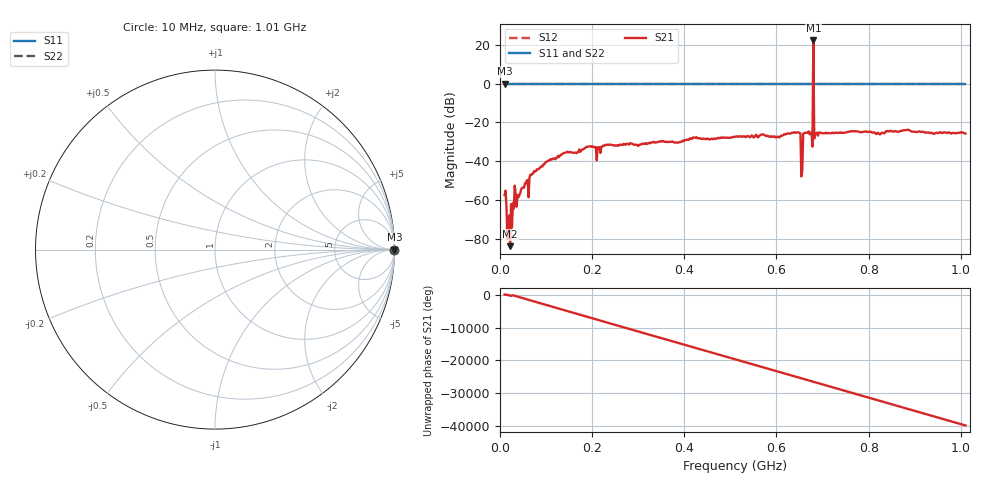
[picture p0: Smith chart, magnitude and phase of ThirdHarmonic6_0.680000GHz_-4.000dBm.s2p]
! 8/15/2025 10:39:49 PM
! C:\ANRITSUVNA\TEMP\TEMP.S2P
! CHANNEL.1
! TR.MEASUREMENT
! RAW.DATA
! RF.CORRECTION.OFF
! AVERAGING.OFF
! IF.BANDWIDTH: 5KHZ
! SWEEPTYPE:  FREQ.SWEEP(Linear)
! Reference Plane Port Info
! PORT:  PORT1  PORT2
! DISTANCE:  0  m  0  m
! TIME:  0  s  0  s
! PHASE.OFFSET:  0  deg.  0  deg.
! LOSS:  0  dB  0  dB
! REF.LOSS:  0  dB  0  dB
! REF.FREQ:  0  Hz  0  Hz
! Power Info
! POWER:  -20  dBm  -20  dBm
! EFF.POWER:  -20  dBm  -20  dBm
! SOURCE.ATTEN:  0  dB  0  dB
! TEST.ATTEN:  0  dB  0  dB
# GHZ S RI R 50.0
! FREQ.GHZ  S11RE  S11IM  S21RE  S21IM  S12RE  S12IM  S22RE  S22IM
!; PortSelection: Port_12
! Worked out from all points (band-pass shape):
!   501 points, 10 MHz to 1.01 GHz, reference 50 ohm
!   highest |S21| = 22.19 dB at 680 MHz (marker M1); lowest = -83.8 dB at 22 MHz (marker M2)
!   |S21| within 3 dB of the highest: 679.8904 MHz to 680.1187 MHz (228.3 kHz wide, 0.0336 % of centre)
!   lowest |S11| = 0.0 dB at 10 MHz (marker M3)
!   |S11| at or under -10 dB: nowhere
!   |S22| runs from 0.0 to 0.0 dB; largest |S21 - S12| = 13
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0.01  1 0  0.00125 0.000461  1 0  1 0
0.018  1 0  -6.14e-05 -0.000103  1 0  1 0
0.022  1 0  6.41e-05 6e-06  1 0  1 0
0.032  1 0  0.00234 -4.56e-05  1 0  1 0
0.07  1 0  -0.00114 -0.00454  1 0  1 0
0.136  1 0  6.1e-06 0.0154  1 0  1 0
0.178  1 0  -0.0192 -0.00426  1 0  1 0
0.344  1 0  0.0307 -0.0073  1 0  1 0
0.51  1 0  -0.0393 0.0165  1 0  1 0
0.648  1 0  0.0543 0.00803  1 0  1 0
0.652  1 0  -0.0461 -0.0232  1 0  1 0
0.656  1 0  0.00222 0.00524  1 0  1 0
0.658  1 0  0.0413 -0.0301  1 0  1 0
0.662  1 0  -0.0522 0.0148  1 0  1 0
0.674  1 0  0.0394 0.0349  1 0  1 0
0.676  1 0  0.0424 -0.0357  1 0  1 0
0.678  1 0  -0.0123 -0.0201  1 0  1 0
0.68  1 0  -4.331 12.12  1 0  1 0
0.684  1 0  0.05 -0.00278  1 0  1 0
0.686  1 0  0.00641 -0.0524  1 0  1 0
0.844  1 0  0.0459 0.0367  1 0  1 0
1.01  1 0  -0.0503 -0.00955  1 0  1 0
